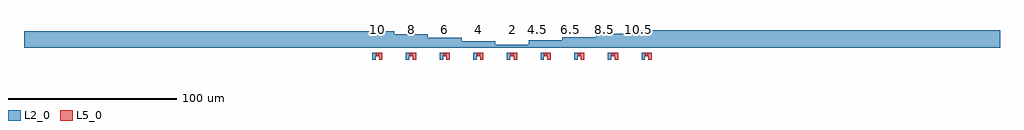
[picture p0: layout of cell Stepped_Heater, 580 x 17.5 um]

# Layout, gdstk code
import gdstk
lib = gdstk.Library(unit=1e-6, precision=1e-09)
def P(c, l, *ps):  # polygons
    for p in ps: c.add(gdstk.Polygon(p, *l))
L2_0 = (2, 0)
L5_0 = (5, 0)

thermocouple_junction_w2 = lib.new_cell('thermocouple_junction_W2_LBAU_ACTIVE_LTNI_TC_TFalse_OLL_1b8ebc3c')
P(thermocouple_junction_w2, L2_0, [(0,0),(0,4),(4,4),(4,2),(2,2),(2,0)])
P(thermocouple_junction_w2, L5_0, [(4,0),(4,2),(2,2),(2,4),(6,4),(6,0)])

stepped_heater = lib.new_cell('Stepped_Heater')
P(stepped_heater, L2_0, [(-200,0),(-200,10),(20,10),(20,8),(40,8),(40,6),(60,6),(60,4),(80,4),(80,2),(100,2),(100,4.5),(120,4.5),(120,6.5),(140,6.5),(140,8.5),(160,8.5),(160,10.5),(180,10.5),(380,10.5),(380,0),(-100,0)])
stepped_heater.add(gdstk.Reference(thermocouple_junction_w2, (7,-7)))
stepped_heater.add(gdstk.Reference(thermocouple_junction_w2, (27,-7)))
stepped_heater.add(gdstk.Reference(thermocouple_junction_w2, (47,-7)))
stepped_heater.add(gdstk.Reference(thermocouple_junction_w2, (67,-7)))
stepped_heater.add(gdstk.Reference(thermocouple_junction_w2, (87,-7)))
stepped_heater.add(gdstk.Reference(thermocouple_junction_w2, (107,-7)))
stepped_heater.add(gdstk.Reference(thermocouple_junction_w2, (127,-7)))
stepped_heater.add(gdstk.Reference(thermocouple_junction_w2, (147,-7)))
stepped_heater.add(gdstk.Reference(thermocouple_junction_w2, (167,-7)))
stepped_heater.add(gdstk.Label('10', (10,11), layer=0, texttype=0))
stepped_heater.add(gdstk.Label('8', (30,11), layer=0, texttype=0))
stepped_heater.add(gdstk.Label('6', (50,11), layer=0, texttype=0))
stepped_heater.add(gdstk.Label('4', (70,11), layer=0, texttype=0))
stepped_heater.add(gdstk.Label('2', (90,11), layer=0, texttype=0))
stepped_heater.add(gdstk.Label('4.5', (105,11), layer=0, texttype=0))
stepped_heater.add(gdstk.Label('6.5', (125,11), layer=0, texttype=0))
stepped_heater.add(gdstk.Label('8.5', (145,11), layer=0, texttype=0))
stepped_heater.add(gdstk.Label('10.5', (165,11), layer=0, texttype=0))
stepped_heater.add(gdstk.Label('Chain of stepped heaters spaced 20 um with TCs spaced 20 um', (10,40), layer=0, texttype=0))

lib.write_gds('Stepped_Heater.gds')
